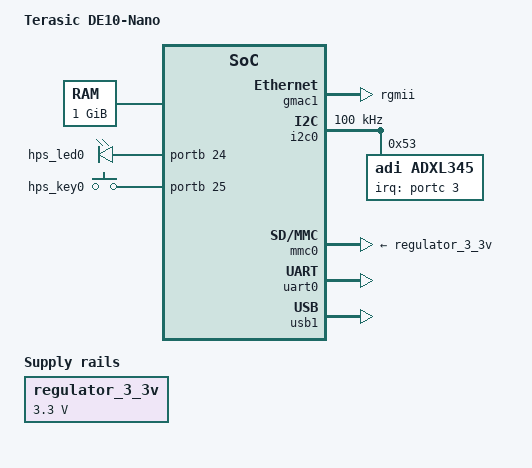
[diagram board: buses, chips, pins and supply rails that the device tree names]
// SPDX-License-Identifier: GPL-2.0
/*
 * Copyright Altera Corporation (C) 2015. All rights reserved.
 */

#include "socfpga_cyclone5.dtsi"
#include <dt-bindings/interrupt-controller/irq.h>
#include <dt-bindings/interrupt-controller/arm-gic.h>

/ {
	model = "Terasic DE10-Nano";
	compatible = "altr,socfpga-cyclone5", "altr,socfpga";

	chosen {
		bootargs = "earlyprintk";
		stdout-path = "serial0:115200n8";
	};

	memory@0 {
		name = "memory";
		device_type = "memory";
		reg = <0x0 0x40000000>; /* 1GB */
	};

	aliases {
		ethernet0 = &gmac1;
	};

	regulator_3_3v: regulator {
		compatible = "regulator-fixed";
		regulator-name = "3.3V";
		regulator-min-microvolt = <3300000>;
		regulator-max-microvolt = <3300000>;
	};

	leds {
		compatible = "gpio-leds";
		led-hps0 {
			label = "hps_led0";
			gpios = <&portb 24 0>;
			linux,default-trigger = "heartbeat";
		};
	};

	keys {
		compatible = "gpio-keys";
		hps0 {
			label = "hps_key0";
			gpios = <&portb 25 0>;
			linux,code = <63>;
			debounce-interval = <50>;
		};
	};

   soc {
        // custom_leds_0: leds@0xff200000 {
        //     compatible = "dev,custom-leds";
        //     reg = <0xff200000 0x000008>;
        //     clocks = <&l4_main_clk>;
        // };

        // custom_button {
        //     compatible="dev,custom-button";
        //     reg = <0xff200000 0x000010>;
        //     interrupts = <GIC_SPI 40 IRQ_TYPE_EDGE_RISING>;
        // };

        custom_dma {
            compatible="dev,custom-dma";
            reg = <0xff200040 0x000080>;
            interrupts = <GIC_SPI 41 IRQ_TYPE_EDGE_RISING>;
        };
   };
};

&gmac1 {
	status = "okay";
	phy-mode = "rgmii";

	txd0-skew-ps = <0>; /* -420ps */
	txd1-skew-ps = <0>; /* -420ps */
	txd2-skew-ps = <0>; /* -420ps */
	txd3-skew-ps = <0>; /* -420ps */
	rxd0-skew-ps = <420>; /* 0ps */
	rxd1-skew-ps = <420>; /* 0ps */
	rxd2-skew-ps = <420>; /* 0ps */
	rxd3-skew-ps = <420>; /* 0ps */
	txen-skew-ps = <0>; /* -420ps */
	txc-skew-ps = <1860>; /* 960ps */
	rxdv-skew-ps = <420>; /* 0ps */
	rxc-skew-ps = <1680>; /* 780ps */

	max-frame-size = <3800>;
};

&gpio0 {
	status = "okay";
};

&gpio1 {
	status = "okay";
};

&gpio2 {
	status = "okay";
};

&i2c0 {
	status = "okay";
	clock-frequency = <100000>;

	adxl345: adxl345@53 {
		compatible = "adi,adxl345";
		reg = <0x53>;

		interrupt-parent = <&portc>;
		interrupts = <3 2>;
	};
};

&mmc0 {
	vmmc-supply = <&regulator_3_3v>;
	vqmmc-supply = <&regulator_3_3v>;
	status = "okay";
};

&uart0 {
	status = "okay";
};

&usb1 {
	status = "okay";
};
&fpga_bridge0 {
  status = "okay";
  bridge-enable = <1>;
};

&fpga_bridge1 {
  status = "okay";
  bridge-enable = <1>;
};

&fpga_bridge2 {
  status = "okay";
  bridge-enable = <1>;
};

&fpga_bridge3 {
  status = "okay";
  bridge-enable = <1>;
};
